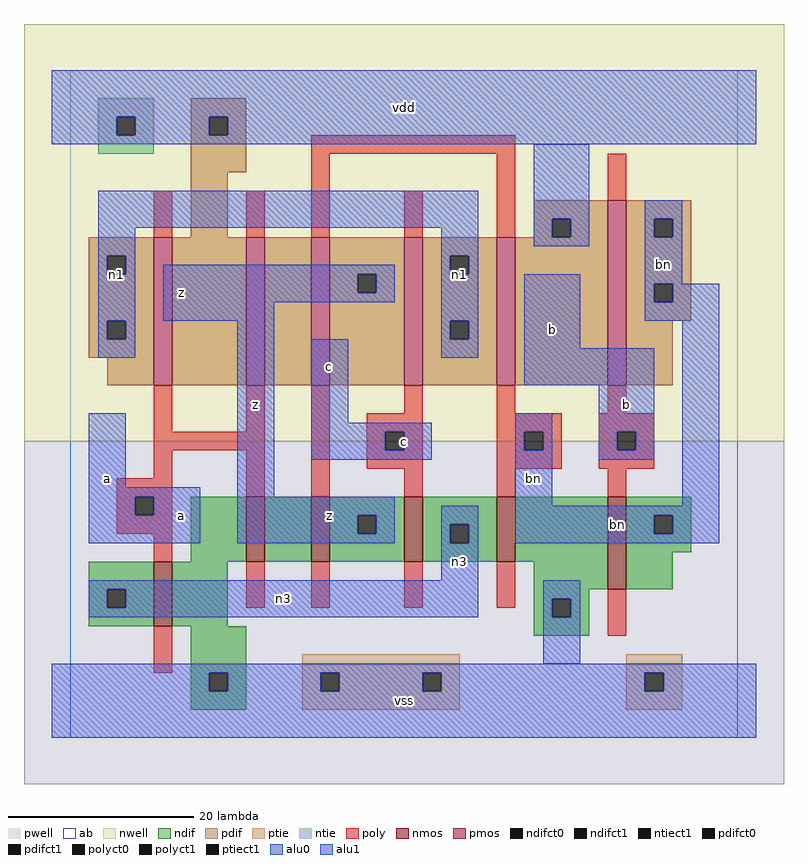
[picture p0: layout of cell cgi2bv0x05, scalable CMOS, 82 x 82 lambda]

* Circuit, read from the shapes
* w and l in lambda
.subckt cgi2bv0x05 a b bn c n1 n3 vdd vss z
M1 vss a n3 vss nfet w=7 l=2
M2 n2 a vss vss nfet w=7 l=2
M3 z bn n2 vss nfet w=7 l=2
M4 n3 c z vss nfet w=7 l=2
M5 vss bn n3 vss nfet w=7 l=2
M6 bn b vss vss nfet w=10 l=2
M7 vdd a n1 vdd pfet w=16 l=2
M8 n4 a vdd vdd pfet w=16 l=2
M9 z bn n4 vdd pfet w=16 l=2
M10 n1 c z vdd pfet w=16 l=2
M11 vdd bn n1 vdd pfet w=16 l=2
M12 bn b vdd vdd pfet w=20 l=2
.ends

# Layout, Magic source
magic
tech scmos
<< ab >>
rect 0 0 72 72
<< nwell >>
rect -5 32 77 77
<< pwell >>
rect -5 -5 77 32
<< poly >>
rect 26 63 48 65
rect 9 54 11 59
rect 19 54 21 59
rect 26 54 28 63
rect 36 54 38 59
rect 46 54 48 63
rect 58 58 60 63
rect 9 33 11 38
rect 19 33 21 38
rect 9 31 21 33
rect 9 28 11 31
rect 5 26 11 28
rect 19 26 21 31
rect 26 26 28 38
rect 36 35 38 38
rect 32 33 38 35
rect 32 31 34 33
rect 36 31 38 33
rect 32 29 38 31
rect 36 26 38 29
rect 46 35 48 38
rect 58 35 60 38
rect 46 33 53 35
rect 46 31 49 33
rect 51 31 53 33
rect 46 29 53 31
rect 57 33 63 35
rect 57 31 59 33
rect 61 31 63 33
rect 57 29 63 31
rect 46 26 48 29
rect 58 26 60 29
rect 5 24 7 26
rect 9 24 11 26
rect 5 22 11 24
rect 9 19 11 22
rect 19 14 21 19
rect 26 14 28 19
rect 36 14 38 19
rect 46 14 48 19
rect 9 7 11 12
rect 58 11 60 16
<< ndif >>
rect 13 19 19 26
rect 21 19 26 26
rect 28 24 36 26
rect 28 22 31 24
rect 33 22 36 24
rect 28 19 36 22
rect 38 23 46 26
rect 38 21 41 23
rect 43 21 46 23
rect 38 19 46 21
rect 48 19 58 26
rect 2 16 9 19
rect 2 14 4 16
rect 6 14 9 16
rect 2 12 9 14
rect 11 12 17 19
rect 50 16 58 19
rect 60 24 67 26
rect 60 22 63 24
rect 65 22 67 24
rect 60 20 67 22
rect 60 16 65 20
rect 50 15 56 16
rect 50 13 52 15
rect 54 13 56 15
rect 13 7 19 12
rect 50 11 56 13
rect 13 5 15 7
rect 17 5 19 7
rect 13 3 19 5
<< pdif >>
rect 13 67 19 69
rect 13 65 15 67
rect 17 65 19 67
rect 13 61 19 65
rect 13 54 17 61
rect 50 56 58 58
rect 50 54 52 56
rect 54 54 58 56
rect 2 52 9 54
rect 2 50 4 52
rect 6 50 9 52
rect 2 45 9 50
rect 2 43 4 45
rect 6 43 9 45
rect 2 41 9 43
rect 4 38 9 41
rect 11 38 19 54
rect 21 38 26 54
rect 28 50 36 54
rect 28 48 31 50
rect 33 48 36 50
rect 28 38 36 48
rect 38 52 46 54
rect 38 50 41 52
rect 43 50 46 52
rect 38 45 46 50
rect 38 43 41 45
rect 43 43 46 45
rect 38 38 46 43
rect 48 38 58 54
rect 60 56 67 58
rect 60 54 63 56
rect 65 54 67 56
rect 60 49 67 54
rect 60 47 63 49
rect 65 47 67 49
rect 60 45 67 47
rect 60 38 65 45
<< alu1 >>
rect -2 67 74 72
rect -2 65 5 67
rect 7 65 15 67
rect 17 65 74 67
rect -2 64 74 65
rect 10 50 35 51
rect 10 48 31 50
rect 33 48 35 50
rect 10 47 35 48
rect 10 45 22 47
rect 2 27 6 35
rect 2 26 14 27
rect 2 24 7 26
rect 9 24 14 26
rect 2 21 14 24
rect 18 26 22 45
rect 26 34 30 43
rect 49 42 55 50
rect 49 38 63 42
rect 26 33 39 34
rect 26 31 34 33
rect 36 31 39 33
rect 26 30 39 31
rect 18 24 35 26
rect 57 33 63 38
rect 57 31 59 33
rect 61 31 63 33
rect 57 30 63 31
rect 18 22 31 24
rect 33 22 35 24
rect 18 21 35 22
rect -2 7 74 8
rect -2 5 15 7
rect 17 5 27 7
rect 29 5 38 7
rect 40 5 62 7
rect 64 5 74 7
rect -2 0 74 5
<< ptie >>
rect 25 7 42 9
rect 25 5 27 7
rect 29 5 38 7
rect 40 5 42 7
rect 25 3 42 5
rect 60 7 66 9
rect 60 5 62 7
rect 64 5 66 7
rect 60 3 66 5
<< ntie >>
rect 3 67 9 69
rect 3 65 5 67
rect 7 65 9 67
rect 3 63 9 65
<< nmos >>
rect 19 19 21 26
rect 26 19 28 26
rect 36 19 38 26
rect 46 19 48 26
rect 9 12 11 19
rect 58 16 60 26
<< pmos >>
rect 9 38 11 54
rect 19 38 21 54
rect 26 38 28 54
rect 36 38 38 54
rect 46 38 48 54
rect 58 38 60 58
<< polyct0 >>
rect 49 31 51 33
<< polyct1 >>
rect 34 31 36 33
rect 59 31 61 33
rect 7 24 9 26
<< ndifct0 >>
rect 41 21 43 23
rect 4 14 6 16
rect 63 22 65 24
rect 52 13 54 15
<< ndifct1 >>
rect 31 22 33 24
rect 15 5 17 7
<< ntiect1 >>
rect 5 65 7 67
<< ptiect1 >>
rect 27 5 29 7
rect 38 5 40 7
rect 62 5 64 7
<< pdifct0 >>
rect 52 54 54 56
rect 4 50 6 52
rect 4 43 6 45
rect 41 50 43 52
rect 41 43 43 45
rect 63 54 65 56
rect 63 47 65 49
<< pdifct1 >>
rect 15 65 17 67
rect 31 48 33 50
<< alu0 >>
rect 3 55 44 59
rect 3 52 7 55
rect 3 50 4 52
rect 6 50 7 52
rect 40 52 44 55
rect 50 56 56 64
rect 50 54 52 56
rect 54 54 56 56
rect 50 53 56 54
rect 62 56 66 58
rect 62 54 63 56
rect 65 54 66 56
rect 3 45 7 50
rect 40 50 41 52
rect 43 50 44 52
rect 3 43 4 45
rect 6 43 7 45
rect 3 41 7 43
rect 40 45 44 50
rect 40 43 41 45
rect 43 43 44 45
rect 40 41 44 43
rect 62 49 66 54
rect 62 47 63 49
rect 65 47 70 49
rect 62 45 70 47
rect 48 33 52 35
rect 48 31 49 33
rect 51 31 52 33
rect 48 25 52 31
rect 66 25 70 45
rect 40 23 44 25
rect 40 21 41 23
rect 43 21 44 23
rect 48 24 70 25
rect 48 22 63 24
rect 65 22 70 24
rect 48 21 70 22
rect 40 17 44 21
rect 2 16 44 17
rect 2 14 4 16
rect 6 14 44 16
rect 2 13 44 14
rect 51 15 55 17
rect 51 13 52 15
rect 54 13 55 15
rect 51 8 55 13
<< labels >>
rlabel alu0 5 50 5 50 6 n1
rlabel alu0 23 15 23 15 6 n3
rlabel alu0 42 19 42 19 6 n3
rlabel alu0 50 28 50 28 6 bn
rlabel alu0 42 50 42 50 6 n1
rlabel alu0 59 23 59 23 6 bn
rlabel alu0 64 51 64 51 6 bn
rlabel alu1 12 24 12 24 6 a
rlabel alu1 4 28 4 28 6 a
rlabel alu1 12 48 12 48 6 z
rlabel alu1 28 24 28 24 6 z
rlabel alu1 28 40 28 40 6 c
rlabel alu1 20 36 20 36 6 z
rlabel alu1 36 4 36 4 6 vss
rlabel alu1 36 32 36 32 6 c
rlabel alu1 52 44 52 44 6 b
rlabel alu1 36 68 36 68 6 vdd
rlabel alu1 60 36 60 36 6 b
<< end >>
